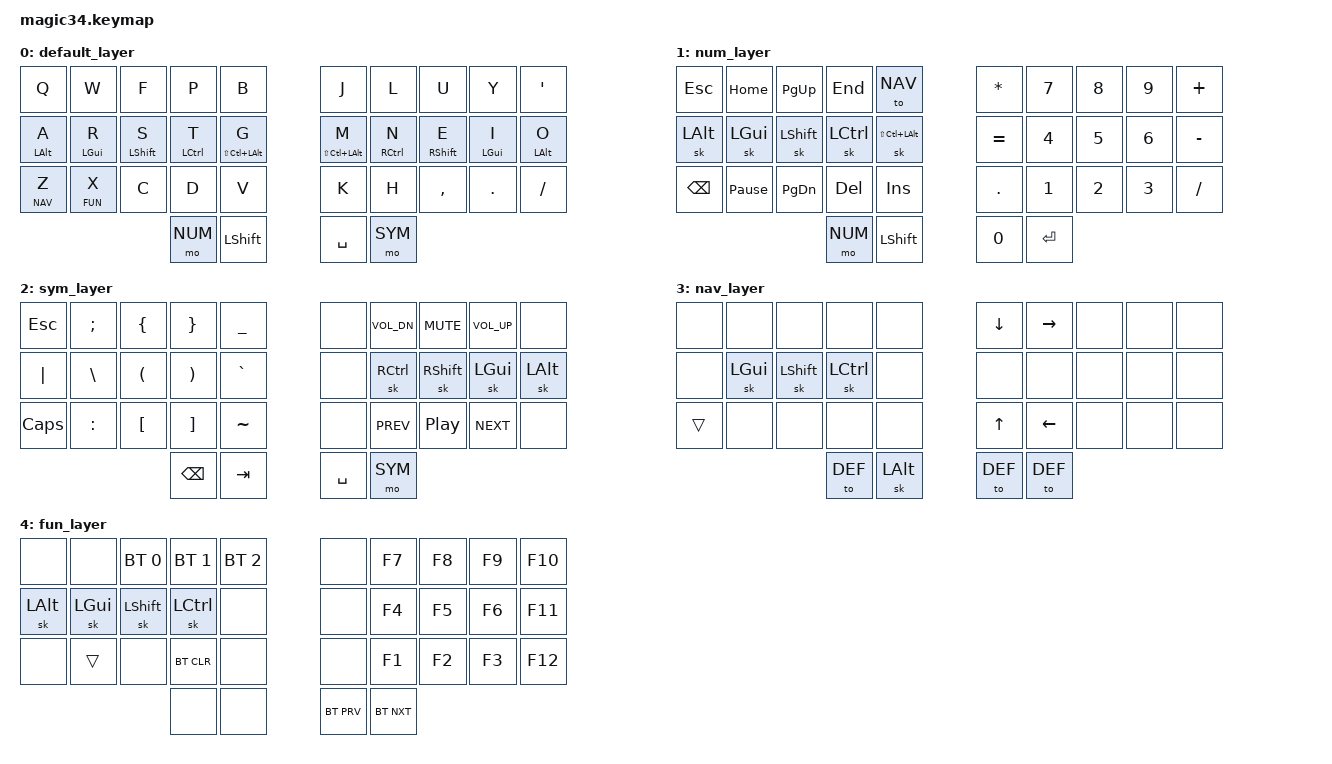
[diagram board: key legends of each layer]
#include <behaviors.dtsi>
#include <dt-bindings/zmk/keys.h>
#include <dt-bindings/zmk/bt.h>

#define DEF   0
#define NUM   1
#define SYM   2
#define NAV   3
#define FUN   4

#define MEH LS(LC(LALT))

&sk {
  release-after-ms = <2000>;
  quick-release;
};

/ {
    behaviors {
      hm: homerow_mods {
          compatible = "zmk,behavior-hold-tap";
          #binding-cells = <2>;
          flavor = "tap-preferred";
          tapping-term-ms = <200>;
          quick-tap-ms = <125>;
          require-prior-idle-ms = <150>;
          bindings = <&kp>, <&kp>;
      };
    };

    keymap {
      compatible = "zmk,keymap";

      default_layer {
        bindings = <
          &kp Q        &kp W        &kp F          &kp P        &kp B              &kp J       &kp L        &kp U          &kp Y        &kp SQT
          &hm LALT A   &hm LGUI R   &hm LSHIFT S   &hm LCTL T   &hm MEH G          &hm MEH M   &hm RCTL N   &hm RSHIFT E   &hm LGUI I   &hm LALT O
          &lt NAV Z    &lt FUN X    &kp C          &kp D        &kp V              &kp K       &kp H        &kp COMMA      &kp DOT      &kp FSLH
                                                   &mo NUM      &kp LSHIFT         &kp SPACE   &mo SYM
        >;
      };
      num_layer {
        bindings = <
          &kp ESC    &kp HOME          &kp PG_UP    &kp END     &to NAV            &kp STAR    &kp N7   &kp N8   &kp N9   &kp PLUS
          &sk LALT   &sk LGUI          &sk LSHIFT   &sk LCTL    &sk MEH            &kp EQUAL   &kp N4   &kp N5   &kp N6   &kp MINUS
          &kp BSPC   &kp PAUSE_BREAK   &kp PG_DN    &kp DEL     &kp INS            &kp DOT     &kp N1   &kp N2   &kp N3   &kp FSLH
                                                    &mo NUM     &kp LSHIFT         &kp N0      &kp RET
        >;
      };
      sym_layer {
        bindings = <
          &kp ESC    &kp SEMI    &kp LBRC   &kp RBRC   &kp UNDER          &none       &kp C_VOL_DN   &kp C_MUTE   &kp C_VOL_UP   &none
          &kp PIPE   &kp BSLH    &kp LPAR   &kp RPAR   &kp GRAVE          &none       &sk RCTL       &sk RSHIFT   &sk LGUI       &sk LALT
          &kp CAPS   &kp COLON   &kp LBKT   &kp RBKT   &kp TILDE          &none       &kp C_PREV     &kp C_PP     &kp C_NEXT     &none
                                            &kp BSPC   &kp TAB            &kp SPACE   &mo SYM
        >;
      };
      nav_layer {
        bindings = <
          &none     &none      &none        &none     &none                 &kp DOWN    &kp RIGHT   &none   &none   &none
          &none     &sk LGUI   &sk LSHIFT   &sk LCTL  &none                 &none       &none       &none   &none   &none
          &trans    &none      &none        &none     &none                 &kp UP      &kp LEFT    &none   &none   &none
                                            &to DEF   &sk LALT              &to DEF     &to DEF
        >;
      };
      fun_layer {
        bindings = <
          &none        &none      &bt BT_SEL 0 &bt BT_SEL 1 &bt BT_SEL 2       &none       &kp F7   &kp F8   &kp F9   &kp F10
          &sk LALT     &sk LGUI   &sk LSHIFT   &sk LCTL     &none              &none       &kp F4   &kp F5   &kp F6   &kp F11
          &none        &trans     &none        &bt BT_CLR   &none              &none       &kp F1   &kp F2   &kp F3   &kp F12
                                               &none        &none              &bt BT_PRV  &bt BT_NXT
        >;
      };
    };
};
